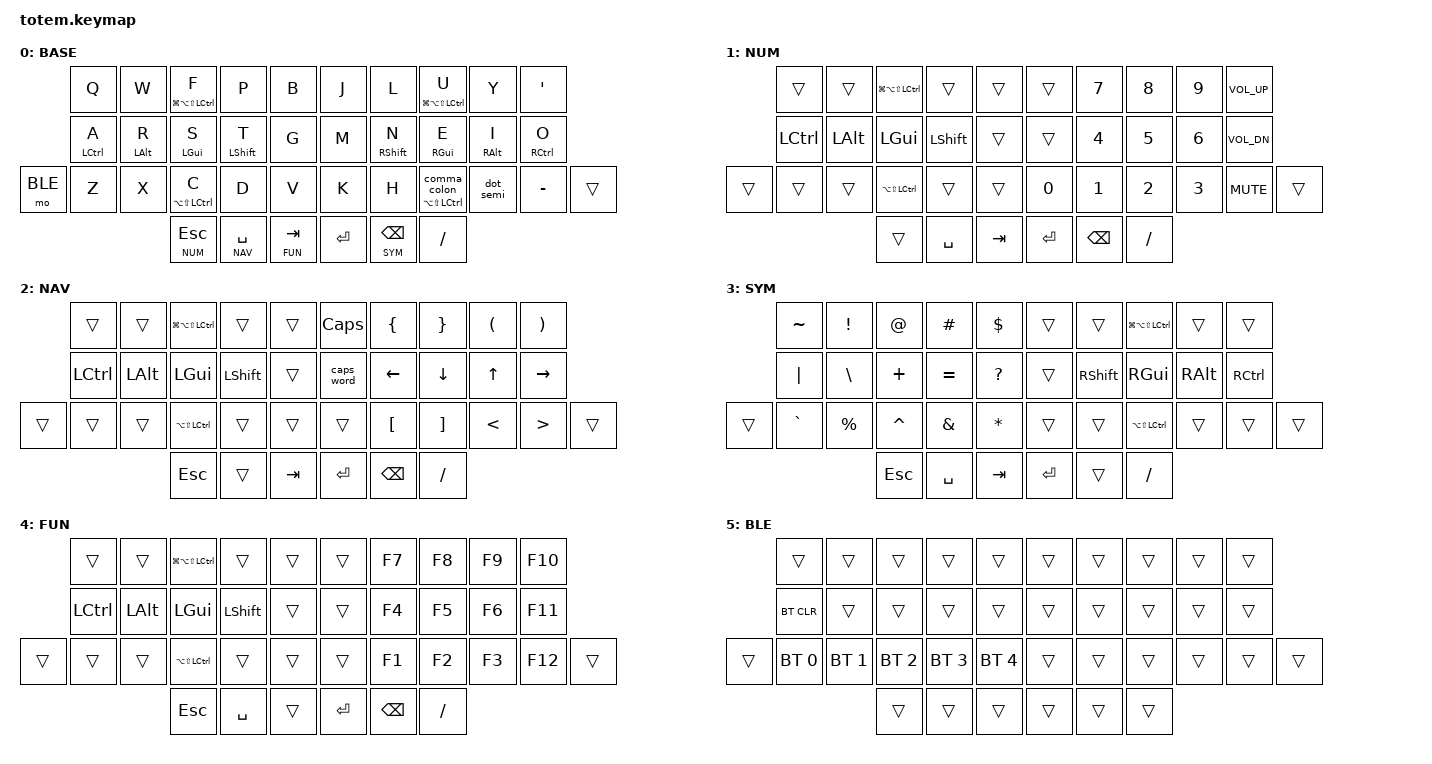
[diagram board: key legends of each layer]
//
//                                                        ▀▀▀▀▀     ▀▀▀▀▀          ▀▀█▀▀
//                                                        ▄▀▀▀▄  ▄  ▄▀▀▀▄  ▄  ▄▀▀▀▄  █  ▄▀▀▀▄
//                                                        █   █  █  █   █  █  █   █  █  █   █
//                                                         ▀▀▀   █   ▀▀▀   █   ▀▀▀   ▀   ▀▀▀
//                                                               █      ▄▄▄█▄▄▄    █   █  
//                                                               ▀      █  █  █     █▄█
//                                                             ▀▀▀▀▀    █  █  █      ▀
//                                                                      ▀  ▀  ▀
//
// ▄▄▄▄▄▄▄▄▄▄▄▄▄▄▄▄▄▄▄▄▄▄▄▄▄▄▄▄▄▄▄▄▄▄▄▄▄▄▄▄▄▄▄▄▄▄▄▄▄▄▄▄▄▄▄▄▄▄▄▄▄▄▄▄▄▄▄▄▄▄▄▄▄▄▄▄▄▄▄▄▄▄▄▄▄▄▄▄▄▄▄▄▄▄▄▄▄▄▄▄▄▄▄▄▄▄▄▄▄▄▄▄▄▄▄▄▄▄▄▄▄▄▄▄▄▄▄▄▄▄▄▄▄▄▄▄▄▄▄▄▄▄▄▄▄▄▄▄▄
       

#include <behaviors.dtsi>
#include <dt-bindings/zmk/keys.h>
#include <dt-bindings/zmk/bt.h>
#include <dt-bindings/zmk/outputs.h>

#define BASE 0
#define NUM  1
#define NAV  2
#define SYM  3
#define FUN  4
#define BLE  5

// HYPER AND MEH
#define HYPER LG(LA(LS(LCTRL)))
#define MEH LA(LS(LCTRL))

&mt {
  quick-tap-ms = <100>;
  global-quick-tap;
  flavor = "tap-preferred";
  tapping-term-ms = <170>;
};

&lt {
 quick-tap-ms = <200>;
};

&caps_word {
 continue-list = <UNDERSCORE MINUS BSPC>;
};

/ {
    behaviors {
        comma_colon: comma_colon {
            compatible = "zmk,behavior-mod-morph";
            #binding-cells = <0>;
            bindings = <&kp COMMA>, <&kp COLON>;
            mods = <(MOD_LSFT|MOD_RSFT)>;
        };
        dot_semi: dot_semi {
            compatible = "zmk,behavior-mod-morph";
            #binding-cells = <0>;
            bindings = <&kp DOT>, <&kp SEMI>;
            mods = <(MOD_LSFT|MOD_RSFT)>;
        };
        lt_meh_comma_colon: lt_meh_comma_colon {
            compatible = "zmk,behavior-hold-tap";
            #binding-cells = <2>;
            bindings = <&kp>, <&comma_colon>;

            quick-tap-ms = <100>;
            global-quick-tap;
            flavor = "tap-preferred";
            tapping-term-ms = <170>;
        };
    };

        keymap {
                compatible = "zmk,keymap";
// ▄▄▄▄▄▄▄▄▄▄▄▄▄▄▄▄▄▄▄▄▄▄▄▄▄▄▄▄▄▄▄▄▄▄▄▄▄▄▄▄▄▄▄▄▄▄▄▄▄▄▄▄▄▄▄▄▄▄▄▄▄▄▄▄▄▄▄▄▄▄▄▄▄▄▄▄▄▄▄▄▄▄▄▄▄▄▄▄▄▄▄▄▄▄▄▄▄▄▄▄▄▄▄▄▄▄▄▄▄▄▄▄▄▄▄▄▄▄▄▄▄▄▄▄▄▄▄▄▄▄▄▄▄▄▄▄▄▄▄▄▄▄▄▄▄▄▄▄▄

                base_layer {
label= "BASE"                              ;
 bindings = <
                &kp Q           &kp W           &mt HYPER F     &kp P           &kp B               &kp J       &kp L              &mt HYPER U                     &kp Y           &kp SQT
                &mt LCTRL A     &mt LALT R      &mt LGUI S      &mt LSHFT T     &kp G               &kp M       &mt RSHFT N        &mt RGUI E                      &mt RALT I      &mt RCTRL O
    &mo BLE     &kp Z           &kp X           &mt MEH C       &kp D           &kp V               &kp K       &kp H              &lt_meh_comma_colon MEH 0       &dot_semi       &kp MINUS    &trans
                                                &lt NUM ESC     &lt NAV SPACE   &lt FUN TAB         &kp RET     &lt SYM BSPC       &kp FSLH
                        >;
                };

// ▄▄▄▄▄▄▄▄▄▄▄▄▄▄▄▄▄▄▄▄▄▄▄▄▄▄▄▄▄▄▄▄▄▄▄▄▄▄▄▄▄▄▄▄▄▄▄▄▄▄▄▄▄▄▄▄▄▄▄▄▄▄▄▄▄▄▄▄▄▄▄▄▄▄▄▄▄▄▄▄▄▄▄▄▄▄▄▄▄▄▄▄▄▄▄▄▄▄▄▄▄▄▄▄▄▄▄▄▄▄▄▄▄▄▄▄▄▄▄▄▄▄▄▄▄▄▄▄▄▄▄▄▄▄▄▄▄▄▄▄▄▄▄▄▄▄▄▄▄

                num_layer {
label= "NUM"                              ;
 bindings = <
                &trans      &trans      &kp HYPER    &trans      &trans          &trans      &kp N7       &kp N8       &kp N9      &kp C_VOL_UP
                &kp LCTRL   &kp LALT    &kp LGUI     &kp LSHFT   &trans          &trans      &kp N4       &kp N5       &kp N6      &kp C_VOL_DN
    &trans      &trans      &trans      &kp MEH      &trans      &trans          &kp N0      &kp N1       &kp N2       &kp N3      &kp C_MUTE      &trans
                                        &trans       &kp SPACE   &kp TAB         &kp RET     &kp BSPC     &kp FSLH
                        >;
                };

// ▄▄▄▄▄▄▄▄▄▄▄▄▄▄▄▄▄▄▄▄▄▄▄▄▄▄▄▄▄▄▄▄▄▄▄▄▄▄▄▄▄▄▄▄▄▄▄▄▄▄▄▄▄▄▄▄▄▄▄▄▄▄▄▄▄▄▄▄▄▄▄▄▄▄▄▄▄▄▄▄▄▄▄▄▄▄▄▄▄▄▄▄▄▄▄▄▄▄▄▄▄▄▄▄▄▄▄▄▄▄▄▄▄▄▄▄▄▄▄▄▄▄▄▄▄▄▄▄▄▄▄▄▄▄▄▄▄▄▄▄▄▄▄▄▄▄▄▄▄

                nav_layer {
label= "NAV"                              ;
 bindings = <
                &trans      &trans      &kp HYPER   &trans      &trans          &kp CAPSLOCK    &kp LEFT_BRACE      &kp RIGHT_BRACE      &kp LEFT_PARENTHESIS      &kp RIGHT_PARENTHESIS
                &kp LCTRL   &kp LALT    &kp LGUI    &kp LSHFT   &trans          &caps_word      &kp LEFT            &kp DOWN             &kp UP                    &kp RIGHT
    &trans      &trans      &trans      &kp MEH     &trans      &trans          &trans          &kp LEFT_BRACKET    &kp RIGHT_BRACKET    &kp LESS_THAN             &kp GREATER_THAN           &trans
                                        &kp ESC     &trans      &kp TAB         &kp RET         &kp BSPC            &kp FSLH
                        >;
                };

// ▄▄▄▄▄▄▄▄▄▄▄▄▄▄▄▄▄▄▄▄▄▄▄▄▄▄▄▄▄▄▄▄▄▄▄▄▄▄▄▄▄▄▄▄▄▄▄▄▄▄▄▄▄▄▄▄▄▄▄▄▄▄▄▄▄▄▄▄▄▄▄▄▄▄▄▄▄▄▄▄▄▄▄▄▄▄▄▄▄▄▄▄▄▄▄▄▄▄▄▄▄▄▄▄▄▄▄▄▄▄▄▄▄▄▄▄▄▄▄▄▄▄▄▄▄▄▄▄▄▄▄▄▄▄▄▄▄▄▄▄▄▄▄▄▄▄▄▄▄

                sym_layer {
label= "SYM"                               ;
 bindings = <
                &kp TILDE       &kp EXCLAMATION         &kp AT_SIGN     &kp HASH        &kp DOLLAR                    &trans                   &trans                   &kp HYPER                &trans                  &trans
                &kp PIPE        &kp BACKSLASH           &kp PLUS        &kp EQUAL       &kp QUESTION                  &trans                   &kp RSHFT                &kp RGUI                 &kp RALT                &kp RCTRL
     &trans     &kp GRAVE       &kp PERCENT             &kp CARET       &kp AMPERSAND   &kp ASTERISK                  &trans                   &trans                   &kp MEH                  &trans                  &trans         &trans
                                                        &kp ESC         &kp SPACE       &kp TAB                       &kp RET                  &trans                   &kp FSLH
                        >;
                };
// ▄▄▄▄▄▄▄▄▄▄▄▄▄▄▄▄▄▄▄▄▄▄▄▄▄▄▄▄▄▄▄▄▄▄▄▄▄▄▄▄▄▄▄▄▄▄▄▄▄▄▄▄▄▄▄▄▄▄▄▄▄▄▄▄▄▄▄▄▄▄▄▄▄▄▄▄▄▄▄▄▄▄▄▄▄▄▄▄▄▄▄▄▄▄▄▄▄▄▄▄▄▄▄▄▄▄▄▄▄▄▄▄▄▄▄▄▄▄▄▄▄▄▄▄▄▄▄▄▄▄▄▄▄▄▄▄▄▄▄▄▄▄▄▄▄▄▄▄▄

                fun_layer {
label= "FUN"                              ;
 bindings = <
                &trans      &trans      &kp HYPER    &trans      &trans          &trans      &kp F7       &kp F8       &kp F9      &kp F10
                &kp LCTRL   &kp LALT    &kp LGUI     &kp LSHFT   &trans          &trans      &kp F4       &kp F5       &kp F6      &kp F11
    &trans      &trans      &trans      &kp MEH      &trans      &trans          &trans      &kp F1       &kp F2       &kp F3      &kp F12     &trans
                                        &kp ESC      &kp SPACE   &trans          &kp RET     &kp BSPC     &kp FSLH
                        >;
                };
                
// ▄▄▄▄▄▄▄▄▄▄▄▄▄▄▄▄▄▄▄▄▄▄▄▄▄▄▄▄▄▄▄▄▄▄▄▄▄▄▄▄▄▄▄▄▄▄▄▄▄▄▄▄▄▄▄▄▄▄▄▄▄▄▄▄▄▄▄▄▄▄▄▄▄▄▄▄▄▄▄▄▄▄▄▄▄▄▄▄▄▄▄▄▄▄▄▄▄▄▄▄▄▄▄▄▄▄▄▄▄▄▄▄▄▄▄▄▄▄▄▄▄▄▄▄▄▄▄▄▄▄▄▄▄▄▄▄▄▄▄▄▄▄▄▄▄▄▄▄▄

                ble_layer {
label= "BLE"                               ;
 bindings = <
                &trans          &trans          &trans        &trans        &trans              &trans  &trans  &trans  &trans  &trans
                &bt BT_CLR      &trans          &trans        &trans        &trans              &trans  &trans  &trans  &trans  &trans
    &trans      &bt BT_SEL 0    &bt BT_SEL 1    &bt BT_SEL 2  &bt BT_SEL 3  &bt BT_SEL 4        &trans  &trans  &trans  &trans  &trans  &trans
                                                &trans        &trans        &trans              &trans  &trans  &trans      
                        >;
                };
// ▄▄▄▄▄▄▄▄▄▄▄▄▄▄▄▄▄▄▄▄▄▄▄▄▄▄▄▄▄▄▄▄▄▄▄▄▄▄▄▄▄▄▄▄▄▄▄▄▄▄▄▄▄▄▄▄▄▄▄▄▄▄▄▄▄▄▄▄▄▄▄▄▄▄▄▄▄▄▄▄▄▄▄▄▄▄▄▄▄▄▄▄▄▄▄▄▄▄▄▄▄▄▄▄▄▄▄▄▄▄▄▄▄▄▄▄▄▄▄▄▄▄▄▄▄▄▄▄▄▄▄▄▄▄▄▄▄▄▄▄▄▄▄▄▄▄▄▄▄

        };
};
